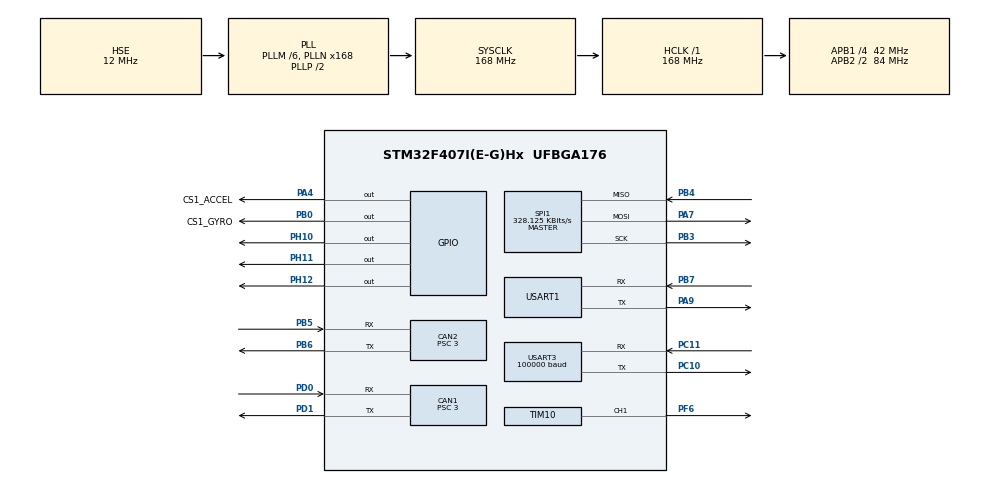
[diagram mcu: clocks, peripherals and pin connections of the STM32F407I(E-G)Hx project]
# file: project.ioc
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CAN1.BS1=CAN_BS1_10TQ
CAN1.BS2=CAN_BS2_3TQ
CAN1.CalculateBaudRate=1000000
CAN1.CalculateTimeBit=1000
CAN1.CalculateTimeQuantum=71.42857142857143
CAN1.NART=ENABLE
CAN1.Prescaler=3
CAN1.TXFP=ENABLE
CAN2.BS1=CAN_BS1_10TQ
CAN2.BS2=CAN_BS2_3TQ
CAN2.CalculateBaudRate=1000000
CAN2.CalculateTimeBit=1000
CAN2.CalculateTimeQuantum=71.42857142857143
CAN2.NART=ENABLE
CAN2.Prescaler=3
CAN2.TXFP=ENABLE
Dma.Request0=USART1_RX
Dma.Request1=USART1_TX
Dma.Request2=USART3_RX
Dma.Request3=SPI1_RX
Dma.Request4=SPI1_TX
Dma.SPI1_RX.3.Direction=DMA_PERIPH_TO_MEMORY
Dma.SPI1_RX.3.FIFOMode=DMA_FIFOMODE_DISABLE
Dma.SPI1_RX.3.Instance=DMA2_Stream2
Dma.SPI1_RX.3.MemDataAlignment=DMA_MDATAALIGN_BYTE
Dma.SPI1_RX.3.MemInc=DMA_MINC_ENABLE
Dma.SPI1_RX.3.Mode=DMA_NORMAL
Dma.SPI1_RX.3.PeriphDataAlignment=DMA_PDATAALIGN_BYTE
Dma.SPI1_RX.3.PeriphInc=DMA_PINC_DISABLE
Dma.SPI1_RX.3.Priority=DMA_PRIORITY_VERY_HIGH
Dma.SPI1_TX.4.Direction=DMA_MEMORY_TO_PERIPH
Dma.SPI1_TX.4.FIFOMode=DMA_FIFOMODE_DISABLE
Dma.SPI1_TX.4.Instance=DMA2_Stream3
Dma.SPI1_TX.4.MemDataAlignment=DMA_MDATAALIGN_BYTE
Dma.SPI1_TX.4.MemInc=DMA_MINC_ENABLE
Dma.SPI1_TX.4.Mode=DMA_NORMAL
Dma.SPI1_TX.4.PeriphDataAlignment=DMA_PDATAALIGN_BYTE
Dma.SPI1_TX.4.PeriphInc=DMA_PINC_DISABLE
Dma.SPI1_TX.4.Priority=DMA_PRIORITY_HIGH
Dma.USART1_RX.0.Direction=DMA_PERIPH_TO_MEMORY
Dma.USART1_RX.0.FIFOMode=DMA_FIFOMODE_DISABLE
Dma.USART1_RX.0.Instance=DMA2_Stream5
Dma.USART1_RX.0.MemDataAlignment=DMA_MDATAALIGN_BYTE
Dma.USART1_RX.0.MemInc=DMA_MINC_ENABLE
Dma.USART1_RX.0.Mode=DMA_NORMAL
Dma.USART1_RX.0.PeriphDataAlignment=DMA_PDATAALIGN_BYTE
Dma.USART1_RX.0.PeriphInc=DMA_PINC_DISABLE
Dma.USART1_RX.0.Priority=DMA_PRIORITY_VERY_HIGH
Dma.USART1_TX.1.Direction=DMA_MEMORY_TO_PERIPH
Dma.USART1_TX.1.FIFOMode=DMA_FIFOMODE_DISABLE
Dma.USART1_TX.1.Instance=DMA2_Stream7
Dma.USART1_TX.1.MemDataAlignment=DMA_MDATAALIGN_BYTE
Dma.USART1_TX.1.MemInc=DMA_MINC_ENABLE
Dma.USART1_TX.1.Mode=DMA_NORMAL
Dma.USART1_TX.1.PeriphDataAlignment=DMA_PDATAALIGN_BYTE
Dma.USART1_TX.1.PeriphInc=DMA_PINC_DISABLE
Dma.USART1_TX.1.Priority=DMA_PRIORITY_VERY_HIGH
Dma.USART3_RX.2.Direction=DMA_PERIPH_TO_MEMORY
Dma.USART3_RX.2.FIFOMode=DMA_FIFOMODE_DISABLE
Dma.USART3_RX.2.Instance=DMA1_Stream1
Dma.USART3_RX.2.MemDataAlignment=DMA_MDATAALIGN_BYTE
Dma.USART3_RX.2.MemInc=DMA_MINC_ENABLE
Dma.USART3_RX.2.Mode=DMA_NORMAL
Dma.USART3_RX.2.PeriphDataAlignment=DMA_PDATAALIGN_BYTE
Dma.USART3_RX.2.PeriphInc=DMA_PINC_DISABLE
Dma.USART3_RX.2.Priority=DMA_PRIORITY_LOW
FREERTOS.Tasks01=defaultTask,24,1024,StartDefaultTask,Default,NULL,Dynamic,NULL,NULL;chassis,40,1024,chassis_task,Default,NULL,Dynamic,NULL,NULL
FREERTOS.configUSE_NEWLIB_REENTRANT=1
Mcu.Family=STM32F4
Mcu.Name=STM32F407I(E-G)Hx
Mcu.Package=UFBGA176
NVIC.CAN1_RX0_IRQn=true\:5\:0\:false\:false\:true\:true\:true\:true\:true
NVIC.CAN1_RX1_IRQn=true\:5\:0\:false\:false\:true\:true\:true\:true\:true
NVIC.CAN2_RX0_IRQn=true\:5\:0\:false\:false\:true\:true\:true\:true\:true
NVIC.CAN2_RX1_IRQn=true\:5\:0\:false\:false\:true\:true\:true\:true\:true
NVIC.DMA1_Stream1_IRQn=true\:5\:0\:false\:false\:true\:true\:false\:true\:true
NVIC.DMA2_Stream2_IRQn=true\:5\:0\:false\:false\:true\:false\:false\:true\:true
NVIC.DMA2_Stream3_IRQn=true\:5\:0\:false\:false\:true\:true\:false\:true\:true
NVIC.DMA2_Stream5_IRQn=true\:5\:0\:false\:false\:true\:false\:false\:true\:true
NVIC.DMA2_Stream7_IRQn=true\:5\:0\:false\:false\:true\:true\:false\:true\:true
NVIC.PriorityGroup=NVIC_PRIORITYGROUP_4
NVIC.TIM8_TRG_COM_TIM14_IRQn=true\:15\:0\:false\:false\:true\:false\:false\:true\:true
NVIC.TimeBase=TIM8_TRG_COM_TIM14_IRQn
NVIC.TimeBaseIP=TIM14
NVIC.USART1_IRQn=true\:5\:0\:false\:false\:true\:true\:true\:true\:true
NVIC.USART3_IRQn=true\:5\:0\:false\:false\:true\:true\:true\:true\:true
PA13.Mode=Serial_Wire
PA13.Signal=SYS_JTMS-SWDIO
PA14.Mode=Serial_Wire
PA14.Signal=SYS_JTCK-SWCLK
PA4.GPIO_Label=CS1_ACCEL
PA4.GPIO_Speed=GPIO_SPEED_FREQ_HIGH
PA4.PinState=GPIO_PIN_SET
PA4.Signal=GPIO_Output
PA7.Mode=Full_Duplex_Master
PA7.Signal=SPI1_MOSI
PA9.Mode=Asynchronous
PA9.Signal=USART1_TX
PB0.GPIO_Label=CS1_GYRO
PB0.GPIO_Speed=GPIO_SPEED_FREQ_HIGH
PB0.PinState=GPIO_PIN_SET
PB0.Signal=GPIO_Output
PB3.Mode=Full_Duplex_Master
PB3.Signal=SPI1_SCK
PB4.Mode=Full_Duplex_Master
PB4.Signal=SPI1_MISO
PB5.Mode=CAN_Activate
PB5.Signal=CAN2_RX
PB6.Mode=CAN_Activate
PB6.Signal=CAN2_TX
PB7.Mode=Asynchronous
PB7.Signal=USART1_RX
PC10.Mode=Asynchronous
PC10.Signal=USART3_TX
PC11.Mode=Asynchronous
PC11.Signal=USART3_RX
PD0.Mode=CAN_Activate
PD0.Signal=CAN1_RX
PD1.Mode=CAN_Activate
PD1.Signal=CAN1_TX
PF6.Signal=S_TIM10_CH1
PH0-OSC_IN.Mode=HSE-External-Oscillator
PH0-OSC_IN.Signal=RCC_OSC_IN
PH1-OSC_OUT.Mode=HSE-External-Oscillator
PH1-OSC_OUT.Signal=RCC_OSC_OUT
PH10.PinState=GPIO_PIN_SET
PH10.Signal=GPIO_Output
PH11.GPIO_PuPd=GPIO_NOPULL
PH11.PinState=GPIO_PIN_SET
PH11.Signal=GPIO_Output
PH12.GPIO_PuPd=GPIO_NOPULL
PH12.PinState=GPIO_PIN_SET
PH12.Signal=GPIO_Output
ProjectManager.HeapSize=0x200
ProjectManager.StackSize=0x400
ProjectManager.TargetToolchain=STM32CubeIDE
RCC.48MHZClocksFreq_Value=84000000
RCC.AHBFreq_Value=168000000
RCC.APB1CLKDivider=RCC_HCLK_DIV4
RCC.APB1Freq_Value=42000000
RCC.APB1TimFreq_Value=84000000
RCC.APB2CLKDivider=RCC_HCLK_DIV2
RCC.APB2Freq_Value=84000000
RCC.APB2TimFreq_Value=168000000
RCC.CortexFreq_Value=168000000
RCC.HCLKFreq_Value=168000000
RCC.HSE_VALUE=12000000
RCC.HSI_VALUE=16000000
RCC.LSE_VALUE=32768
RCC.PLLM=6
RCC.PLLN=168
RCC.PLLSourceVirtual=RCC_PLLSOURCE_HSE
RCC.SYSCLKFreq_VALUE=168000000
RCC.SYSCLKSource=RCC_SYSCLKSOURCE_PLLCLK
RCC.VCOOutputFreq_Value=336000000
SH.S_TIM10_CH1.0=TIM10_CH1,PWM Generation1 CH1
SPI1.BaudRatePrescaler=SPI_BAUDRATEPRESCALER_256
SPI1.CLKPhase=SPI_PHASE_2EDGE
SPI1.CLKPolarity=SPI_POLARITY_HIGH
SPI1.CalculateBaudRate=328.125 KBits/s
SPI1.Direction=SPI_DIRECTION_2LINES
SPI1.Mode=SPI_MODE_MASTER
SPI1.VirtualType=VM_MASTER
TIM10.Channel=TIM_CHANNEL_1
USART1.VirtualMode=VM_ASYNC
USART3.BaudRate=100000
USART3.Parity=PARITY_EVEN
USART3.VirtualMode=VM_ASYNC
USART3.WordLength=WORDLENGTH_9B
VP_FREERTOS_VS_CMSIS_V2.Mode=CMSIS_V2
VP_SYS_VS_tim14.Mode=TIM14
VP_TIM10_VS_ClockSourceINT.Mode=Enable_Timer
board=custom

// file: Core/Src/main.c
/* USER CODE BEGIN Header */
/**
  ******************************************************************************
  * @file           : main.c
  * @brief          : Main program body
  ******************************************************************************
  * @attention
  *
  * Copyright (c) 2024 STMicroelectronics.
  * All rights reserved.
  *
  * This software is licensed under terms that can be found in the LICENSE file
  * in the root directory of this software component.
  * If no LICENSE file comes with this software, it is provided AS-IS.
  *
  ******************************************************************************
  */
/* USER CODE END Header */
#include "main.h"
#include "cmsis_os.h"
#include "can.h"
#include "dma.h"
#include "spi.h"
#include "tim.h"
#include "usart.h"
#include "gpio.h"

/* USER CODE BEGIN Includes */
#include "dr16.h"
#include "chassis.h"
#include "BMI088.h"
#include "bsp_can.h"
#include "bsp_pid.h"
#include "IMU.h"
/* USER CODE END Includes */

void SystemClock_Config(void);
void MX_FREERTOS_Init(void);

int main(void)
{

  /* MCU Configuration--------------------------------------------------------*/

  /* Reset of all peripherals, Initializes the Flash interface and the Systick. */
  HAL_Init();

  /* Configure the system clock */
  SystemClock_Config();

  /* Initialize all configured peripherals */
  MX_GPIO_Init();
  MX_DMA_Init();
  MX_USART1_UART_Init();
  MX_CAN1_Init();
  MX_CAN2_Init();
  MX_USART3_UART_Init();
  MX_SPI1_Init();
  MX_TIM10_Init();
  /* USER CODE BEGIN 2 */

  Chassis_Init();
  HAL_UART_Receive_DMA(&huart3, sbus_buf, 18);
  //IMU_Init();
  //BMI088_FLOAT_ACC_GYRO_Init();

  /* USER CODE END 2 */

  /* Init scheduler */
  osKernelInitialize();

  /* Call init function for freertos objects (in cmsis_os2.c) */
  MX_FREERTOS_Init();

  /* Start scheduler */
  osKernelStart();

  /* We should never get here as control is now taken by the scheduler */

  /* Infinite loop */
  while (1)
  {

  }
}

void SystemClock_Config(void)
{
  RCC_OscInitTypeDef RCC_OscInitStruct = {0};
  RCC_ClkInitTypeDef RCC_ClkInitStruct = {0};

  /** Configure the main internal regulator output voltage
  */
  __HAL_RCC_PWR_CLK_ENABLE();
  __HAL_PWR_VOLTAGESCALING_CONFIG(PWR_REGULATOR_VOLTAGE_SCALE1);

  /** Initializes the RCC Oscillators according to the specified parameters
  * in the RCC_OscInitTypeDef structure.
  */
  RCC_OscInitStruct.OscillatorType = RCC_OSCILLATORTYPE_HSE;
  RCC_OscInitStruct.HSEState = RCC_HSE_ON;
  RCC_OscInitStruct.PLL.PLLState = RCC_PLL_ON;
  RCC_OscInitStruct.PLL.PLLSource = RCC_PLLSOURCE_HSE;
  RCC_OscInitStruct.PLL.PLLM = 6;
  RCC_OscInitStruct.PLL.PLLN = 168;
  RCC_OscInitStruct.PLL.PLLP = RCC_PLLP_DIV2;
  RCC_OscInitStruct.PLL.PLLQ = 4;
  if (HAL_RCC_OscConfig(&RCC_OscInitStruct) != HAL_OK)
  {
    Error_Handler();
  }

  /** Initializes the CPU, AHB and APB buses clocks
  */
  RCC_ClkInitStruct.ClockType = RCC_CLOCKTYPE_HCLK|RCC_CLOCKTYPE_SYSCLK
                              |RCC_CLOCKTYPE_PCLK1|RCC_CLOCKTYPE_PCLK2;
  RCC_ClkInitStruct.SYSCLKSource = RCC_SYSCLKSOURCE_PLLCLK;
  RCC_ClkInitStruct.AHBCLKDivider = RCC_SYSCLK_DIV1;
  RCC_ClkInitStruct.APB1CLKDivider = RCC_HCLK_DIV4;
  RCC_ClkInitStruct.APB2CLKDivider = RCC_HCLK_DIV2;

  if (HAL_RCC_ClockConfig(&RCC_ClkInitStruct, FLASH_LATENCY_5) != HAL_OK)
  {
    Error_Handler();
  }
}

void HAL_TIM_PeriodElapsedCallback(TIM_HandleTypeDef *htim)
{
  if (htim->Instance == TIM14) {
    HAL_IncTick();
  }
}

void Error_Handler(void)
{
  __disable_irq();
  while (1)
  {
  }
}

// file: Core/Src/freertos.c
/* USER CODE BEGIN Header */
/**
  ******************************************************************************
  * File Name          : freertos.c
  * Description        : Code for freertos applications
  ******************************************************************************
  * @attention
  *
  * Copyright (c) 2024 STMicroelectronics.
  * All rights reserved.
  *
  * This software is licensed under terms that can be found in the LICENSE file
  * in the root directory of this software component.
  * If no LICENSE file comes with this software, it is provided AS-IS.
  *
  ******************************************************************************
  */
/* USER CODE END Header */

#include "FreeRTOS.h"
#include "task.h"
#include "main.h"
#include "cmsis_os.h"

/* USER CODE BEGIN Includes */
#include <stdio.h>
#include <string.h>

#include "BMI088.h"
#include "chassis.h"
#include "dr16.h"
#include "IMU.h"
#include "usart.h"
/* USER CODE END Includes */

/* USER CODE BEGIN PM */
#define Angle_limit(x)      ((x>2*PAI)? x-(2*PAI): x)
#define Angle_6020(x)       Angle_limit(((float)x * 2*PAI / 8192 + 2*PAI - 2080/8192*2*PAI))
/* USER CODE END PM */

/* USER CODE BEGIN Variables */
char tx_buffer [100];
/* USER CODE END Variables */
/* Definitions for defaultTask */
osThreadId_t defaultTaskHandle;
const osThreadAttr_t defaultTask_attributes = {
  .name = "defaultTask",
  .stack_size = 1024 * 4,
  .priority = (osPriority_t) osPriorityNormal,
};
/* Definitions for chassis */
osThreadId_t chassisHandle;
const osThreadAttr_t chassis_attributes = {
  .name = "chassis",
  .stack_size = 1024 * 4,
  .priority = (osPriority_t) osPriorityHigh,
};

void StartDefaultTask(void *argument);
void chassis_task(void *argument);

void MX_FREERTOS_Init(void); /* (MISRA C 2004 rule 8.1) */

void MX_FREERTOS_Init(void) {

  /* Create the thread(s) */
  /* creation of defaultTask */
  defaultTaskHandle = osThreadNew(StartDefaultTask, NULL, &defaultTask_attributes);

  /* creation of chassis */
  chassisHandle = osThreadNew(chassis_task, NULL, &chassis_attributes);

}

void StartDefaultTask(void *argument)
{
  for(;;)
  {
    osDelay(1);
  }
}

void chassis_task(void *argument)
{
  /* USER CODE BEGIN chassis_task */
  HAL_GPIO_WritePin(GPIOH, GPIO_PIN_10, 1);
  HAL_GPIO_WritePin(GPIOH, GPIO_PIN_11, 1);
  HAL_GPIO_WritePin(GPIOH, GPIO_PIN_12, 1);
  /* Infinite loop */
  for(;;)
  {
    chassis_state_change(state);

    Output_To_Pid(Vx, Vy, Om);

    cmd_trans(0x600, 0, Pitch, dr16_sw(sw[0], sw[1]), 0);

    sprintf(tx_buffer, "%d,%d,%f,%f,%d,%d,%d\r\n",motor__[4][0], angle[4], YAW, Angle_6020(motor_6020_angle_ecd), dr16_sw(sw[0], sw[1]), sw[0], Pitch);
    HAL_UART_Transmit(&huart1, tx_buffer, strlen(tx_buffer), 100);

    osDelay(1);
  }
  /* USER CODE END chassis_task */
}
